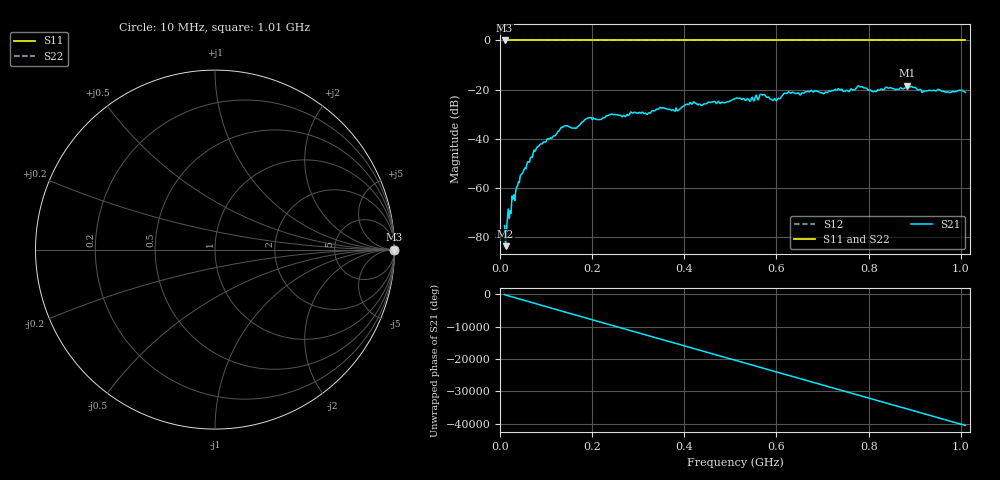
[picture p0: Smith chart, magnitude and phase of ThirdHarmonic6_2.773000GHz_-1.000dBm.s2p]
! 8/17/2025 7:04:08 AM
! C:\ANRITSUVNA\TEMP\TEMP.S2P
! CHANNEL.1
! TR.MEASUREMENT
! RAW.DATA
! RF.CORRECTION.OFF
! AVERAGING.OFF
! IF.BANDWIDTH: 5KHZ
! SWEEPTYPE:  FREQ.SWEEP(Linear)
! Reference Plane Port Info
! PORT:  PORT1  PORT2
! DISTANCE:  0  m  0  m
! TIME:  0  s  0  s
! PHASE.OFFSET:  0  deg.  0  deg.
! LOSS:  0  dB  0  dB
! REF.LOSS:  0  dB  0  dB
! REF.FREQ:  0  Hz  0  Hz
! Power Info
! POWER:  -20  dBm  -20  dBm
! EFF.POWER:  -20  dBm  -20  dBm
! SOURCE.ATTEN:  0  dB  0  dB
! TEST.ATTEN:  0  dB  0  dB
# GHZ S RI R 50.0
! FREQ.GHZ  S11RE  S11IM  S21RE  S21IM  S12RE  S12IM  S22RE  S22IM
!; PortSelection: Port_12
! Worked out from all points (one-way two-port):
!   501 points, 10 MHz to 1.01 GHz, reference 50 ohm
!   highest |S21| = -18.46 dB at 884 MHz (marker M1); lowest = -83.8 dB at 12 MHz (marker M2)
!   lowest |S11| = 0.0 dB at 10 MHz (marker M3)
!   |S11| at or under -10 dB: nowhere
!   |S22| runs from 0.0 to 0.0 dB; largest |S21 - S12| = 1.1
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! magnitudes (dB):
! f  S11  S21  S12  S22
! 10 MHz  0.0  -75.4  0.0  0.0
! 12 MHz  0.0  -83.8  0.0  0.0
! 30 MHz  0.0  -62.9  0.0  0.0
! 44 MHz  0.0  -55.1  0.0  0.0
! 76 MHz  0.0  -45.2  0.0  0.0
! 136 MHz  0.0  -35.3  0.0  0.0
! 162 MHz  0.0  -35.8  0.0  0.0
! 178 MHz  0.0  -33.2  0.0  0.0
! 194 MHz  0.0  -31.5  0.0  0.0
! 322 MHz  0.0  -29.5  0.0  0.0
! 344 MHz  0.0  -27.9  0.0  0.0
! 382 MHz  0.0  -27.4  0.0  0.0
! 416 MHz  0.0  -25.9  0.0  0.0
! 510 MHz  0.0  -23.7  0.0  0.0
! 546 MHz  0.0  -23.3  0.0  0.0
! 570 MHz  0.0  -22.2  0.0  0.0
! 596 MHz  0.0  -23.6  0.0  0.0
! 622 MHz  0.0  -21.6  0.0  0.0
! 678 MHz  0.0  -20.8  0.0  0.0
! 844 MHz  0.0  -19.4  0.0  0.0
! 884 MHz  0.0  -18.5  0.0  0.0
! 1.01 GHz  0.0  -21.2  0.0  0.0
